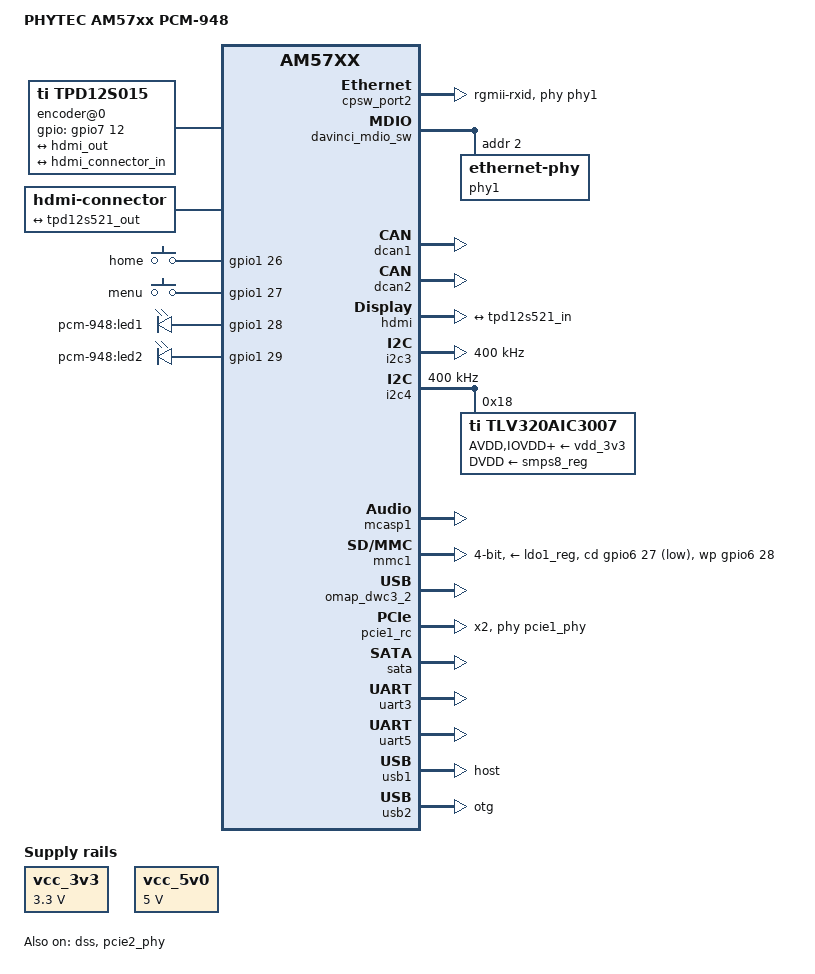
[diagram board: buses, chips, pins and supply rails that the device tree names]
// SPDX-License-Identifier: (GPL-2.0+ OR MIT)
/*
 * Copyright (C) 2025 PHYTEC Messtechnik GmbH
 * Author: Primoz Fiser <primoz.fiser@norik.com>
 *
 * Product homepage:
 * https://www.phytec.com/product/phycore-am57x-development-kit/
 */

#include <dt-bindings/input/input.h>

/ {
	model = "PHYTEC AM57xx PCM-948";
	compatible = "phytec,am57xx-pcm-948", "phytec,am57xx-phycore-som", "ti,dra7";

	aliases {
		display0 = &hdmi0;
		mmc0 = &mmc1;
		sound0 = &sound0;
		sound1 = &hdmi;
	};

	chosen {
		stdout-path = &uart3;
	};

	encoder@0 {
		compatible = "ti,tpd12s015";
		/* CT_CP_HPD (optional), LS_OE (optional), HPD */
		gpios = <0>, <0>, <&gpio7 12 GPIO_ACTIVE_HIGH>;

		ports {
			#address-cells = <1>;
			#size-cells = <0>;

			port@0 {
				reg = <0>;
				tpd12s521_in: endpoint@0 {
					remote-endpoint = <&hdmi_out>;
				};
			};

			port@1 {
				reg = <1>;
				tpd12s521_out: endpoint@0 {
					remote-endpoint = <&hdmi_connector_in>;
				};
			};
		};
	};

	hdmi0: connector@0 {
		compatible = "hdmi-connector";
		label = "hdmi";
		type = "a";

		port {
			hdmi_connector_in: endpoint {
				remote-endpoint = <&tpd12s521_out>;
			};
		};
	};

	keys {
		compatible = "gpio-keys";
		autorepeat;
		pinctrl-names = "default";
		pinctrl-0 = <&gpio_keys_pins_default>;

		key-home {
			label = "home";
			linux,code = <KEY_HOME>;
			gpios = <&gpio1 26 GPIO_ACTIVE_HIGH>;
		};

		key-menu {
			label = "menu";
			linux,code = <KEY_MENU>;
			gpios = <&gpio1 27 GPIO_ACTIVE_HIGH>;
		};
	};

	leds {
		compatible = "gpio-leds";
		pinctrl-names = "default";
		pinctrl-0 = <&leds_som_pins_default &leds_cb_pins_default>;
		pinctrl-1 = <&leds_som_pins_sleep &leds_cb_pins_sleep>;

		led-1 {
			label = "pcm-948:led1";
			gpios = <&gpio1 28 GPIO_ACTIVE_HIGH>;
			linux,default-trigger = "mmc1";
		};

		led-2 {
			label = "pcm-948:led2";
			gpios = <&gpio1 29 GPIO_ACTIVE_HIGH>;
			linux,default-trigger = "mmc0";
		};
	};

	sound0: sound {
		compatible = "simple-audio-card";
		simple-audio-card,name = "pcm-948";
		simple-audio-card,widgets =
			"Line", "Line Out",
			"Line", "Line In",
			"Microphone", "Mic Jack",
			"Headphone", "HP Jack";
		simple-audio-card,routing =
			/* Line Out */
			"Line Out",	"LLOUT",
			"Line Out",	"RLOUT",
			/* Line In */
			"LINE1R",	"Line In",
			"LINE1R",	"Line In",
			/* Mic */
			"MIC3L",	"Mic Jack",
			"MIC3R",	"Mic Jack",
			"Mic Jack",	"Mic Bias",
			/* HP Jack */
			"HP Jack",	"HPLOUT",
			"HP Jack",	"HPROUT";
		simple-audio-card,format = "dsp_b";
		simple-audio-card,bitclock-master = <&sound0_master>;
		simple-audio-card,frame-master = <&sound0_master>;
		simple-audio-card,bitclock-inversion;

		simple-audio-card,cpu {
			sound-dai = <&mcasp1>;
		};

		sound0_master: simple-audio-card,codec {
			sound-dai = <&tlv320aic3007>;
			clocks = <&clkout2_clk>;
		};
	};

	vcc_3v3: regulator-vcc-3v3 {
		compatible = "regulator-fixed";
		regulator-name = "VCC_3V3";
		regulator-min-microvolt = <3300000>;
		regulator-max-microvolt = <3300000>;
		regulator-always-on;
		regulator-boot-on;
	};

	vcc_5v0: regulator-vcc-5v0 {
		compatible = "regulator-fixed";
		regulator-name = "VCC_5V0";
		regulator-min-microvolt = <5000000>;
		regulator-max-microvolt = <5000000>;
		regulator-always-on;
		regulator-boot-on;
	};
};

&dra7_pmx_core {
	clkout2_pins_default: clkout2_pins_default {
		pinctrl-single,pins = <
			DRA7XX_CORE_IOPAD(0x3694, PIN_INPUT_PULLDOWN | MUX_MODE9)
		>;
	};

	clkout2_pins_sleep: clkout2_pins_sleep {
		pinctrl-single,pins = <
			DRA7XX_CORE_IOPAD(0x3694, PIN_INPUT | MUX_MODE15)
		>;
	};

	dcan1_pins: dcan1_pins {
		pinctrl-single,pins = <
			DRA7XX_CORE_IOPAD(0x37d0, PIN_OUTPUT_PULLUP | MUX_MODE0)
			DRA7XX_CORE_IOPAD(0x37d4, PIN_INPUT_PULLUP | MUX_MODE0)
		>;
	};

	dcan2_pins: dcan2_pins {
		pinctrl-single,pins = <
			DRA7XX_CORE_IOPAD(0x3688, PIN_OUTPUT_PULLUP | MUX_MODE2)
			DRA7XX_CORE_IOPAD(0x368c, PIN_INPUT_PULLUP | MUX_MODE2)
		>;
	};

	emac1_pins_default: emac1_pins_default {
		pinctrl-single,pins = <
			DRA7XX_CORE_IOPAD(0x3598, PIN_OUTPUT | MUX_MODE3)
			DRA7XX_CORE_IOPAD(0x359c, PIN_OUTPUT | MUX_MODE3)
			DRA7XX_CORE_IOPAD(0x35a0, PIN_OUTPUT | MUX_MODE3)
			DRA7XX_CORE_IOPAD(0x35a4, PIN_OUTPUT | MUX_MODE3)
			DRA7XX_CORE_IOPAD(0x35a8, PIN_OUTPUT | MUX_MODE3)
			DRA7XX_CORE_IOPAD(0x35ac, PIN_OUTPUT | MUX_MODE3)
			DRA7XX_CORE_IOPAD(0x35b0, PIN_INPUT | MUX_MODE3)
			DRA7XX_CORE_IOPAD(0x35b4, PIN_INPUT | MUX_MODE3)
			DRA7XX_CORE_IOPAD(0x35b8, PIN_INPUT | MUX_MODE3)
			DRA7XX_CORE_IOPAD(0x35bc, PIN_INPUT | MUX_MODE3)
			DRA7XX_CORE_IOPAD(0x35c0, PIN_INPUT | MUX_MODE3)
			DRA7XX_CORE_IOPAD(0x35c4, PIN_INPUT | MUX_MODE3)
		>;

	};

	emac1_pins_sleep: emac1_pins_sleep {
		pinctrl-single,pins = <
			DRA7XX_CORE_IOPAD(0x3598, PIN_INPUT | MUX_MODE15)
			DRA7XX_CORE_IOPAD(0x359c, PIN_INPUT | MUX_MODE15)
			DRA7XX_CORE_IOPAD(0x35a0, PIN_INPUT | MUX_MODE15)
			DRA7XX_CORE_IOPAD(0x35a4, PIN_INPUT | MUX_MODE15)
			DRA7XX_CORE_IOPAD(0x35a8, PIN_INPUT | MUX_MODE15)
			DRA7XX_CORE_IOPAD(0x35ac, PIN_INPUT | MUX_MODE15)
			DRA7XX_CORE_IOPAD(0x35b0, PIN_INPUT | MUX_MODE15)
			DRA7XX_CORE_IOPAD(0x35b4, PIN_INPUT | MUX_MODE15)
			DRA7XX_CORE_IOPAD(0x35b8, PIN_INPUT | MUX_MODE15)
			DRA7XX_CORE_IOPAD(0x35bc, PIN_INPUT | MUX_MODE15)
			DRA7XX_CORE_IOPAD(0x35c0, PIN_INPUT | MUX_MODE15)
			DRA7XX_CORE_IOPAD(0x35c4, PIN_INPUT | MUX_MODE15)
		>;
	};

	extcon_pins_default:  extcon_pins_default {
		pinctrl-single,pins = <
			DRA7XX_CORE_IOPAD(0x35d0, PIN_INPUT_PULLDOWN | MUX_MODE14)
			DRA7XX_CORE_IOPAD(0x35f4, PIN_INPUT | MUX_MODE14)
		>;
	};

	gpio_keys_pins_default: gpio_keys_pins_default {
		pinctrl-single,pins = <
			DRA7XX_CORE_IOPAD(0x3450, PIN_INPUT | MUX_MODE14)
			DRA7XX_CORE_IOPAD(0x3454, PIN_INPUT | MUX_MODE14)
		>;
	};

	hdmi_pins: pinmux_hdmi_pins {
		pinctrl-single,pins = <
			DRA7XX_CORE_IOPAD(0x37b8, PIN_INPUT_PULLDOWN | MUX_MODE14)
			DRA7XX_CORE_IOPAD(0x37bc, PIN_INPUT_SLEW | MUX_MODE6)
		>;
	};

	i2c2_hdmi_pins: pinmux_i2c2_hdmi_pins {
		pinctrl-single,pins = <
			DRA7XX_CORE_IOPAD(0x3808, PIN_INPUT | MUX_MODE1)
			DRA7XX_CORE_IOPAD(0x380c, PIN_INPUT | MUX_MODE1)
		>;
	};

	i2c3_pins_default: pinmux_i2c3_default {
		pinctrl-single,pins = <
			DRA7XX_CORE_IOPAD(0x3774, PIN_INPUT_PULLUP | MUX_MODE2)
			DRA7XX_CORE_IOPAD(0x3778, PIN_INPUT_PULLUP | MUX_MODE2)
		>;
	};

	i2c3_pins_sleep: pinmux_i2c3_sleep {
		pinctrl-single,pins = <
			DRA7XX_CORE_IOPAD(0x3774, PIN_INPUT | MUX_MODE15)
			DRA7XX_CORE_IOPAD(0x3778, PIN_INPUT | MUX_MODE15)
		>;
	};

	i2c4_pins_default: i2c4_pins_default {
		pinctrl-single,pins = <
			DRA7XX_CORE_IOPAD(0x3440, PIN_INPUT_PULLUP | MUX_MODE7)
			DRA7XX_CORE_IOPAD(0x3444, PIN_INPUT_PULLUP | MUX_MODE7)
		>;
	};

	i2c4_pins_sleep: i2c4_pins_sleep {
		pinctrl-single,pins = <
			DRA7XX_CORE_IOPAD(0x3440, PIN_INPUT | MUX_MODE15)
			DRA7XX_CORE_IOPAD(0x3444, PIN_INPUT | MUX_MODE15)
		>;
	};

	leds_cb_pins_default: leds_cb_pins_default {
		pinctrl-single,pins = <
			DRA7XX_CORE_IOPAD(0x3458, PIN_OUTPUT | MUX_MODE14)
			DRA7XX_CORE_IOPAD(0x345c, PIN_OUTPUT | MUX_MODE14)
		>;
	};

	leds_cb_pins_sleep: leds_cb_pins_sleep {
		pinctrl-single,pins = <
			DRA7XX_CORE_IOPAD(0x3458, PIN_INPUT_PULLDOWN | MUX_MODE15)
			DRA7XX_CORE_IOPAD(0x345c, PIN_INPUT_PULLDOWN | MUX_MODE15)
		>;
	};

	mcasp1_pins_default: mcasp1_pins_default {
		pinctrl-single,pins = <
			DRA7XX_CORE_IOPAD(0x36a4, PIN_INPUT_PULLDOWN | MUX_MODE0)
			DRA7XX_CORE_IOPAD(0x36a8, PIN_INPUT_PULLDOWN | MUX_MODE0)
			DRA7XX_CORE_IOPAD(0x36ec, PIN_OUTPUT_PULLDOWN | MUX_MODE0)
			DRA7XX_CORE_IOPAD(0x36f0, PIN_INPUT_PULLDOWN | MUX_MODE0)
		>;
	};

	mcasp1_pins_sleep: mcasp1_pins_sleep {
		pinctrl-single,pins = <
			DRA7XX_CORE_IOPAD(0x36a4, PIN_INPUT | MUX_MODE15)
			DRA7XX_CORE_IOPAD(0x36a8, PIN_INPUT | MUX_MODE15)
			DRA7XX_CORE_IOPAD(0x36ec, PIN_INPUT | MUX_MODE15)
			DRA7XX_CORE_IOPAD(0x36f0, PIN_INPUT | MUX_MODE15)
		>;
	};

	mmc1_cd_wp_pins: mmc1_cd_wp_pins {
		pinctrl-single,pins = <
			DRA7XX_CORE_IOPAD(0x376c, PIN_INPUT | MUX_MODE14)
			DRA7XX_CORE_IOPAD(0x3770, PIN_INPUT | MUX_MODE14)
		>;
	};

	mmc1_pins_sleep: mmc1_pins_sleep {
		pinctrl-single,pins = <
			DRA7XX_CORE_IOPAD(0x3754, PIN_INPUT | MUX_MODE15)
			DRA7XX_CORE_IOPAD(0x3758, PIN_INPUT | MUX_MODE15)
			DRA7XX_CORE_IOPAD(0x375c, PIN_INPUT | MUX_MODE15)
			DRA7XX_CORE_IOPAD(0x3760, PIN_INPUT | MUX_MODE15)
			DRA7XX_CORE_IOPAD(0x3764, PIN_INPUT | MUX_MODE15)
			DRA7XX_CORE_IOPAD(0x3768, PIN_INPUT | MUX_MODE15)
			DRA7XX_CORE_IOPAD(0x376c, PIN_INPUT | MUX_MODE15)
			DRA7XX_CORE_IOPAD(0x3770, PIN_INPUT | MUX_MODE15)
		>;
	};

	pcie1_pins: pcie1_pins {
		pinctrl-single,pins = <
			DRA7XX_CORE_IOPAD(0x35e8, PIN_INPUT | MUX_MODE14)
			DRA7XX_CORE_IOPAD(0x35ec, PIN_OUTPUT_PULLDOWN | MUX_MODE14)
			DRA7XX_CORE_IOPAD(0x35f0, PIN_INPUT | MUX_MODE14)
			DRA7XX_CORE_IOPAD(0x35f8, PIN_OUTPUT | MUX_MODE14)
		>;
	};

	stmpe_ts_irq_pin: stmpe_ts_irq_pin {
		pinctrl-single,pins = <
			DRA7XX_CORE_IOPAD(0x36e8, PIN_INPUT | MUX_MODE14)
		>;
	};

	uart3_pins_default: uart3_pins_default {
		pinctrl-single,pins = <
			DRA7XX_CORE_IOPAD(0x3648, PIN_INPUT_SLEW | MUX_MODE0)
			DRA7XX_CORE_IOPAD(0x364c, PIN_INPUT_SLEW | MUX_MODE0)
		>;
	};

	uart5_pins_default: uart5_pins_default {
		pinctrl-single,pins = <
			DRA7XX_CORE_IOPAD(0x35dc, PIN_INPUT_SLEW | MUX_MODE2)
			DRA7XX_CORE_IOPAD(0x35e0, PIN_INPUT_SLEW | MUX_MODE2)
		>;
	};

	uart5_pins_sleep: uart5_pins_sleep {
		pinctrl-single,pins = <
			DRA7XX_CORE_IOPAD(0x35dc, PIN_INPUT | MUX_MODE15)
			DRA7XX_CORE_IOPAD(0x35e0, PIN_INPUT | MUX_MODE15)
		>;
	};

	usb1_pins: pinmux_usb1_pins {
		pinctrl-single,pins = <
			DRA7XX_CORE_IOPAD(0x3680, PIN_INPUT_SLEW | MUX_MODE0)
			DRA7XX_CORE_IOPAD(0x362c, PIN_INPUT | MUX_MODE14)
		>;
	};

	usb2_pins_default: pinmux_usb2_pins_default {
		pinctrl-single,pins = <
			DRA7XX_CORE_IOPAD(0x3630, PIN_INPUT | MUX_MODE14)
			DRA7XX_CORE_IOPAD(0x3684, PIN_INPUT_SLEW | MUX_MODE0)
		>;
	};

	usb2_pins_sleep: pinmux_usb2_pins_sleep {
		pinctrl-single,pins = <
			DRA7XX_CORE_IOPAD(0x3630, PIN_INPUT | MUX_MODE14)
			DRA7XX_CORE_IOPAD(0x3684, PIN_INPUT_SLEW | MUX_MODE15)
		>;
	};
};

&apll_pcie_in_clk_mux {
	assigned-clocks = <&apll_pcie_in_clk_mux>;
	assigned-clock-parents = <&pciesref_acs_clk_ck>;
};

&cpsw_port2 {
	phy-handle = <&phy1>;
	/* RX delay 1.2ns */
	phy-mode = "rgmii-rxid";
	ti,dual-emac-pvid = <2>;
};

&davinci_mdio_sw {
	phy1: ethernet-phy@2 {
		reg = <2>;
		rxc-skew-ps = <1860>;
	};
};

&dcan1 {
	status = "okay";
	pinctrl-names = "default";
	pinctrl-0 = <&dcan1_pins>;
};

&dcan2 {
	status = "okay";
	pinctrl-names = "default";
	pinctrl-0 = <&dcan2_pins>;
};

&dss {
	status = "okay";
	vdda_video-supply = <&ldoln_reg>;
};

&extcon_usb2 {
	pinctrl-names = "default";
	pinctrl-0 = <&extcon_pins_default>;
	id-gpio = <&gpio5 7 GPIO_ACTIVE_HIGH>;
	vbus-gpio = <&gpio7 22 GPIO_ACTIVE_HIGH>;
};

&hdmi {
	status = "okay";
	vdda-supply = <&ldo4_reg>;
	pinctrl-names = "default";
	pinctrl-0 = <&hdmi_pins &i2c2_hdmi_pins>;

	port {
		hdmi_out: endpoint {
			remote-endpoint = <&tpd12s521_in>;
		};
	};
};

&i2c3 {
	status = "okay";
	pinctrl-names = "default", "sleep";
	pinctrl-0 = <&i2c3_pins_default>;
	pinctrl-1 = <&i2c3_pins_sleep>;
	clock-frequency = <400000>;
};

&i2c4 {
	status = "okay";
	pinctrl-names = "default", "sleep";
	pinctrl-0 = <&i2c4_pins_default>;
	pinctrl-1 = <&i2c4_pins_sleep>;
	clock-frequency = <400000>;

	tlv320aic3007: audio-codec@18 {
		#sound-dai-cells = <0>;
		compatible = "ti,tlv320aic3007";
		reg = <0x18>;
		pinctrl-names = "default", "sleep";
		pinctrl-0 = <&clkout2_pins_default>;
		pinctrl-1 = <&clkout2_pins_sleep>;
		ai3x-micbias-vg = <2>;
		adc-settle-ms = <40>;

		AVDD-supply = <&vdd_3v3>;
		IOVDD-supply = <&vdd_3v3>;
		DRVDD-supply = <&vdd_3v3>;
		DVDD-supply = <&smps8_reg>;
	};

	stmpe811: touchscreen@41 {
		status = "disabled";
		compatible = "st,stmpe811";
		pinctrl-names = "default";
		pinctrl-0 = <&stmpe_ts_irq_pin>;
		reg = <0x41>;
		id = <0>;
		blocks = <0x5>;
		irq-gpio = <&gpio6 4 IRQ_TYPE_LEVEL_LOW>;
		wakeup-source;

		stmpe_touchscreen {
			compatible = "st,stmpe-ts";
			st,sample-time = <4>;
			st,mod-12b = <1>;
			st,ref-sel = <0>;
			st,adc-freq = <1>;
			st,ave-ctrl = <1>;
			st,touch-det-delay = <2>;
			st,settling = <2>;
			st,fraction-z = <7>;
			st,i-drive = <1>;
		};
	};
};

&mac_sw {
	slaves = <2>;
	pinctrl-names = "default", "sleep";
	pinctrl-0 = <&emac0_pins_default &emac1_pins_default>;
	pinctrl-1 = <&emac0_pins_sleep &emac1_pins_sleep>;
};

&mcasp1 {
	status = "okay";
	#sound-dai-cells = <0>;
	pinctrl-names = "default", "sleep";
	pinctrl-0 = <&mcasp1_pins_default>;
	pinctrl-1 = <&mcasp1_pins_sleep>;

	op-mode = <0>;  /* MCASP_IIS_MODE */
	tdm-slots = <2>;
	/* mcasp1_axr14 = TX, mcasp1_axr15 = RX */
	serial-dir = <  /* 0: INACTIVE, 1: TX, 2: RX */
		0 0 0 0
		0 0 0 0
		0 0 0 0
		0 0 1 2
	>;
	tx-num-evt = <32>;
	rx-num-evt = <32>;
};

&mmc1 {
	status = "okay";
	pinctrl-names = "default", "sleep", "hs";
	pinctrl-0 = <&mmc1_pins_default &mmc1_cd_wp_pins>;
	pinctrl-1 = <&mmc1_pins_sleep>;
	pinctrl-2 = <&mmc1_pins_hs &mmc1_cd_wp_pins>;
	vmmc-supply = <&ldo1_reg>;
	bus-width = <4>;
	cd-gpios = <&gpio6 27 GPIO_ACTIVE_LOW>; /* gpio 219 */
	wp-gpios = <&gpio6 28 GPIO_ACTIVE_HIGH>;
	max-frequency = <96000000>;
	no-1-8-v;
};

&omap_dwc3_2 {
	status = "okay";
	extcon = <&extcon_usb2>;
};

&pcie1_phy {
	/* TODO: use external pcie ref clk */
	syscon-acspcie-tx-rx = <&scm_conf1 0x10 0x2>;
};

&pcie2_phy {
	status = "okay";
	/* TODO: use external pcie ref clk */
	syscon-acspcie-tx-rx = <&scm_conf1 0x10 0x2>;
};

&pcie1_rc {
	status = "okay";
	pinctrl-names = "default";
	pinctrl-0 = <&pcie1_pins>;
	pcie-clk-oe-gpio = <&gpio8 7 GPIO_ACTIVE_HIGH>;
	pcie-reset-gpio = <&gpio8 4 GPIO_ACTIVE_LOW>; /* PWRGD (X27-A11) */
	pcie-reset-active-low;

	num-lanes = <2>;
	phys = <&pcie1_phy>, <&pcie2_phy>;
	phy-names = "pcie-phy0", "pcie-phy1";
};

&sata {
	status = "okay";
};

&uart3 {
	status = "okay";
	pinctrl-names = "default";
	pinctrl-0 = <&uart3_pins_default>;

	interrupts-extended = <&crossbar_mpu GIC_SPI 69 IRQ_TYPE_LEVEL_HIGH
			       &dra7_pmx_core 0x248>;
};

&uart5 {
	status = "okay";
	pinctrl-names = "default", "sleep";
	pinctrl-0 = <&uart5_pins_default>;
	pinctrl-1 = <&uart5_pins_sleep>;

	interrupts-extended = <&crossbar_mpu GIC_SPI 100 IRQ_TYPE_LEVEL_HIGH
			       &dra7_pmx_core 0x1dc>;
};

&usb1 {
	status = "okay";
	dr_mode = "host";
	pinctrl-names = "default";
	pinctrl-0 = <&usb1_pins>;
};

&usb2 {
	status = "okay";
	dr_mode = "otg";
	pinctrl-names = "default", "sleep";
	pinctrl-0 = <&usb2_pins_default>;
	pinctrl-1 = <&usb2_pins_sleep>;
};

&usb2_phy1 {
	phy-supply = <&ldousb_reg>;
};

&usb2_phy2 {
	phy-supply = <&ldousb_reg>;
};
